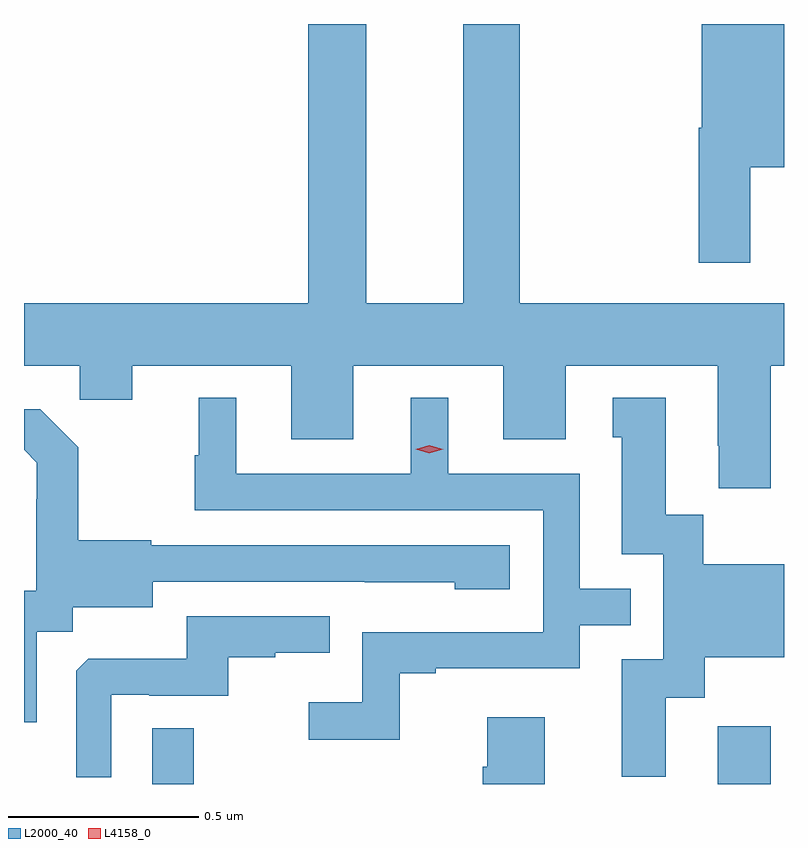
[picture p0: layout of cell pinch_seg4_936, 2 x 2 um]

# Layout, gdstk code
import gdstk
lib = gdstk.Library(unit=1e-6, precision=1e-09)
def R(c, l, rs):  # rectangles x0, y0, x1, y1
    for r in rs: c.add(gdstk.rectangle(r[:2], r[2:], *l))
def P(c, l, *ps):  # polygons
    for p in ps: c.add(gdstk.Polygon(p, *l))
L2000_40 = (2000, 40)
L4158_0 = (4158, 0)

pinch_seg4_936 = lib.new_cell('pinch_seg4_936')
R(pinch_seg4_936, L2000_40, [(646.584,830.351,646.693,830.498), (648.071,830.351,648.211,830.503)])
P(pinch_seg4_936, L2000_40, [(648.211,831.452),(648.246,831.452),(648.246,831.616),(647.55,831.616),(647.55,832.351),(647.402,832.351),(647.402,831.616),(647.146,831.616),(647.146,832.351),(646.994,832.351),(646.994,831.616),(646.246,831.616),(646.246,831.452),(646.393,831.452),(646.393,831.362),(646.531,831.362),(646.531,831.452),(646.949,831.452),(646.949,831.258),(647.113,831.258),(647.113,831.452),(647.507,831.452),(647.507,831.258),(647.671,831.258),(647.671,831.452),(648.071,831.452),(648.071,831.241),(648.074,831.241),(648.074,831.129),(648.211,831.129)],
  [(648.157,831.974),(648.246,831.974),(648.246,832.351),(648.029,832.351),(648.029,832.078),(648.022,832.078),(648.022,831.723),(648.157,831.723)],
  [(647.935,830.578),(648.037,830.578),(648.037,830.684),(648.246,830.684),(648.246,830.929),(648.033,830.929),(648.033,831.059),(647.935,831.059),(647.935,831.367),(647.795,831.367),(647.795,831.264),(647.819,831.264),(647.819,830.955),(647.928,830.955),(647.928,830.679),(647.819,830.679),(647.819,830.37),(647.935,830.37)],
  [(647.235,830.643),(647.329,830.643),(647.329,830.655),(647.709,830.655),(647.709,830.769),(647.843,830.769),(647.843,830.865),(647.709,830.865),(647.709,831.168),(647.362,831.168),(647.362,831.367),(647.264,831.367),(647.264,831.168),(646.804,831.168),(646.804,831.367),(646.706,831.367),(646.706,831.216),(646.695,831.216),(646.695,831.072),(647.613,831.072),(647.613,830.751),(647.136,830.751),(647.136,830.566),(646.995,830.566),(646.995,830.468),(647.235,830.468)],
  [(646.279,830.752),(646.374,830.752),(646.374,830.816),(646.585,830.816),(646.585,830.883),(647.143,830.883),(647.143,830.882),(647.379,830.882),(647.379,830.864),(647.524,830.864),(647.524,830.979),(646.581,830.979),(646.581,830.992),(646.389,830.992),(646.389,831.237),(646.289,831.337),(646.246,831.337),(646.246,831.23),(646.28,831.196),(646.28,831.101),(646.278,831.101),(646.278,830.86),(646.246,830.86),(646.246,830.514),(646.279,830.514)],
  [(646.476,830.586),(646.576,830.586),(646.576,830.583),(646.784,830.583),(646.784,830.685),(646.907,830.685),(646.907,830.696),(647.051,830.696),(647.051,830.793),(646.674,830.793),(646.674,830.681),(646.415,830.681),(646.383,830.649),(646.383,830.369),(646.476,830.369)],
  [(647.617,830.527),(647.465,830.527),(647.465,830.397),(647.453,830.397),(647.453,830.351),(647.617,830.351)])
P(pinch_seg4_936, L4158_0, [(647.313,831.222),(647.277,831.232),(647.277,831.232),(647.277,831.232),(647.313,831.242),(647.349,831.232),(647.349,831.232),(647.349,831.232)])

lib.write_gds('pinch_seg4_936.gds')
